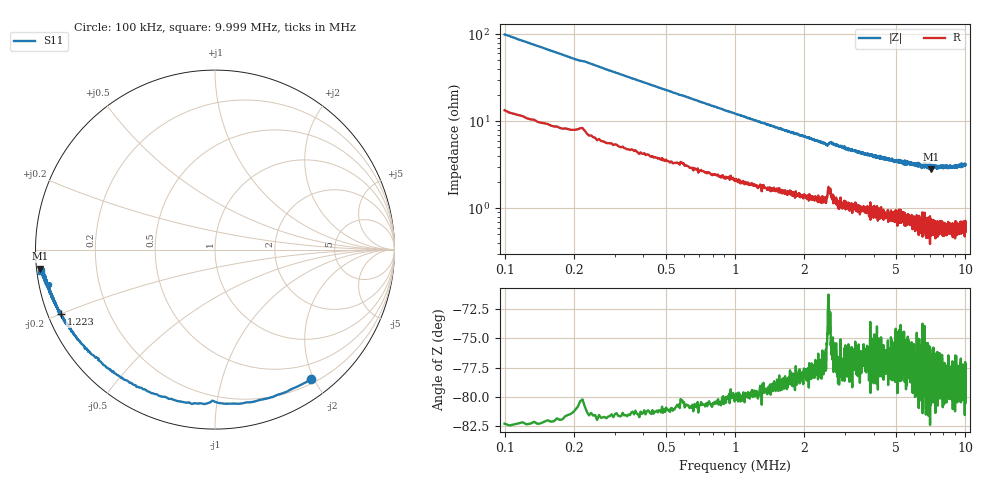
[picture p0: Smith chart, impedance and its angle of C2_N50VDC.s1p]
# HZ S RI R 50
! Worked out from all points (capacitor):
!   2020 points, 100 kHz to 9.999 MHz, reference 50 ohm
!   read as one part to ground: C = 15 nF near 149 kHz
!   lowest |Z| = 2.8 ohm at 7.067 MHz (marker M1)
!   S11 on the Smith chart (normalised r, x): 100 kHz: 0.27, -1.97; 1.223 MHz: 0.04, -0.20; 9.999 MHz: 0.01, -0.06
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100000  0.5366 -0.7189
129418  0.3725 -0.802
158836  0.2229 -0.8458
183351  0.1082 -0.8577
232381  -0.0603 -0.8607
281411  -0.2214 -0.8396
320635  -0.3145 -0.8132
364762  -0.4013 -0.7781
408889  -0.4741 -0.7432
457919  -0.539 -0.7008
511852  -0.5942 -0.6633
570688  -0.6466 -0.6154
742293  -0.744 -0.5256
938413  -0.8072 -0.438
1222787  -0.8594 -0.3587
1340459  -0.8729 -0.3379
1791535  -0.9084 -0.2661
2370089  -0.9299 -0.2134
2502470  -0.9274 -0.1952
2576015  -0.9181 -0.1974
2811359  -0.9363 -0.1923
3816474  -0.9561 -0.154
5052030  -0.9576 -0.129
6287586  -0.9675 -0.1176
7067163  -0.9723 -0.107
7528045  -0.9696 -0.1135
8763601  -0.9706 -0.1129
9999157  -0.9671 -0.1186
